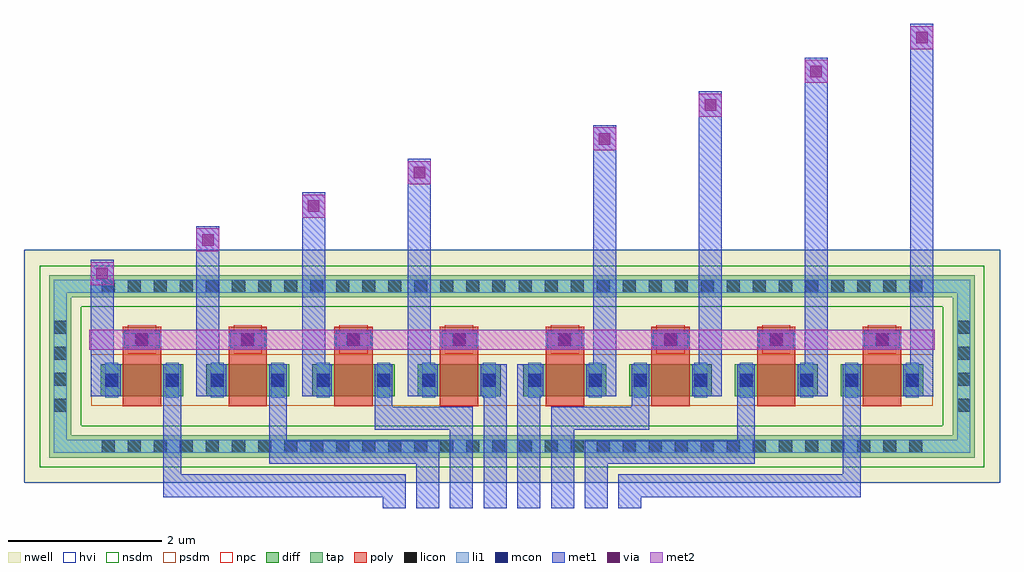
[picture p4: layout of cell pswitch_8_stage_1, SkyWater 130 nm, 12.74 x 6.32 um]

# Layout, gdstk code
import gdstk
lib = gdstk.Library(unit=1e-6, precision=1e-09)
def R(c, l, rs):  # rectangles x0, y0, x1, y1
    for r in rs: c.add(gdstk.rectangle(r[:2], r[2:], *l))
def A(c, l, x, y, w, h, nx, ny, dx, dy):  # array of equal rectangles
    R(c, l, [(x+i*dx, y+j*dy, x+i*dx+w, y+j*dy+h) for i in range(nx) for j in range(ny)])
nwell = (64, 20)
diff = (65, 20)
tap = (65, 44)
poly = (66, 20)
licon = (66, 44)
li1 = (67, 20)
mcon = (67, 44)
met1 = (68, 20)
via = (68, 44)
met2 = (69, 20)
hvi = (75, 20)
nsdm = (93, 44)
psdm = (94, 20)
npc = (95, 20)

sky130_fd_pr__pfet_g5v0d = lib.new_cell('sky130_fd_pr__pfet_g5v0d10v5_WJ97JY')
R(sky130_fd_pr__pfet_g5v0d, nwell, [(-0.72,-0.7,0.72,0.53)])
R(sky130_fd_pr__pfet_g5v0d, diff, [(-0.54,-0.39,0.54,0.03)])
R(sky130_fd_pr__pfet_g5v0d, poly, [(-0.25,-0.52,0.25,0.515)])
R(sky130_fd_pr__pfet_g5v0d, licon, [(-0.48,-0.265,-0.31,-0.095), (0.31,-0.265,0.48,-0.095), (-0.085,0.265,0.085,0.435)])
R(sky130_fd_pr__pfet_g5v0d, li1, [(-0.48,-0.41,-0.31,0.05), (0.31,-0.41,0.48,0.05), (-0.25,0.265,0.25,0.435)])
R(sky130_fd_pr__pfet_g5v0d, mcon, [(-0.48,-0.265,-0.31,-0.095), (0.31,-0.265,0.48,-0.095), (-0.085,0.265,0.085,0.435)])
R(sky130_fd_pr__pfet_g5v0d, met1, [(-0.51,-0.39,-0.28,0.03), (0.28,-0.39,0.51,0.03), (-0.23,0.235,0.23,0.465)])
R(sky130_fd_pr__pfet_g5v0d, hvi, [(-0.72,-0.7,0.72,-0.6), (-1.145,-0.6,1.145,0.24), (-0.72,0.24,0.72,0.53)])
R(sky130_fd_pr__pfet_g5v0d, psdm, [(-0.665,-0.515,0.665,0.155)])
R(sky130_fd_pr__pfet_g5v0d, npc, [(-0.185,0.165,0.185,0.535)])

hpmos_1 = lib.new_cell('hpmos_1')
R(hpmos_1, met1, [(9.99,-15.165,10.31,-14.905)])
R(hpmos_1, via, [(10.075,-15.11,10.225,-14.96)])
R(hpmos_1, met2, [(9.46,-15.165,10.84,-14.905)])
hpmos_1.add(gdstk.Reference(sky130_fd_pr__pfet_g5v0d, (10.15,-15.385)))

hpmos_2 = lib.new_cell('hpmos_2')
R(hpmos_2, psdm, [(12.36,-15.745,12.41,-15.075)])
hpmos_2.add(gdstk.Reference(hpmos_1, (2.925,0.155)))
hpmos_2.add(gdstk.Reference(hpmos_1, (1.545,0.155)))

hpmos_4 = lib.new_cell('hpmos_4')
R(hpmos_4, psdm, [(4.805,0.36,4.855,1.03)])
hpmos_4.add(gdstk.Reference(hpmos_2, (-6.175,16.105)))
hpmos_4.add(gdstk.Reference(hpmos_2, (-8.935,16.105)))

hpmos_8 = lib.new_cell('hpmos_8')
R(hpmos_8, nwell, [(1.135,-0.86,13.875,2.18)])
R(hpmos_8, tap, [(1.465,-0.53,13.545,-0.24), (1.465,-0.24,1.755,1.56), (13.255,-0.24,13.545,1.56), (1.465,1.56,13.545,1.85)])
A(hpmos_8, licon, 2.15, -0.47, 0.17, 0.17, 32, 2, 0.34, 2.09)
A(hpmos_8, licon, 1.525, 0.065, 0.17, 0.17, 1, 4, 0, 0.34)
A(hpmos_8, licon, 13.315, 0.065, 0.17, 0.17, 1, 4, 0, 0.34)
R(hpmos_8, li1, [(1.525,-0.47,13.485,-0.3), (1.525,-0.3,1.695,1.62), (13.315,-0.3,13.485,1.62), (1.525,1.62,13.485,1.79)])
R(hpmos_8, hvi, [(1.135,-0.86,13.875,2.18)])
R(hpmos_8, nsdm, [(1.34,-0.655,13.67,-0.115), (1.34,-0.115,1.88,1.435), (13.13,-0.115,13.67,1.435), (1.34,1.435,13.67,1.975)])
R(hpmos_8, psdm, [(7.48,0.145,7.53,0.815)])
hpmos_8.add(gdstk.Reference(hpmos_4, (5.435,-0.215)))
hpmos_8.add(gdstk.Reference(hpmos_4, (-0.085,-0.215)))

pswitch_8_stage_1 = lib.new_cell('pswitch_8_stage_1')
R(pswitch_8_stage_1, met1, [(152.145,-42.33,152.445,-42.19), (152.585,-42.33,152.885,-41.75), (153.025,-42.33,153.325,-41.31), (153.465,-42.33,153.765,-40.45), (153.905,-42.33,154.205,-40.45), (154.345,-42.33,154.645,-41.31), (154.785,-42.33,155.085,-41.75), (155.225,-42.33,155.525,-42.19), (149.285,-42.19,152.445,-41.89), (155.225,-42.19,158.385,-41.89), (149.285,-41.89,149.515,-40.87), (158.155,-41.89,158.385,-40.81), (150.665,-41.75,152.885,-41.45), (154.785,-41.75,157.005,-41.45), (150.665,-41.45,150.895,-40.87), (156.775,-41.45,157.005,-40.85), (152.045,-41.31,153.325,-41.01), (154.345,-41.31,155.625,-41.01), (152.045,-41.01,152.275,-40.87), (155.395,-41.01,155.625,-40.87), (148.335,-40.87,148.635,-39.09), (149.715,-40.87,150.015,-38.65), (151.095,-40.87,151.395,-38.21), (152.475,-40.87,152.775,-37.77), (154.895,-40.87,155.195,-37.33), (156.275,-40.87,156.575,-36.89), (157.655,-40.87,157.955,-36.45), (159.035,-40.87,159.335,-36.01), (156.79,-40.85,157.005,-40.81)])
R(pswitch_8_stage_1, via, [(148.41,-39.345,148.56,-39.195), (149.79,-38.905,149.94,-38.755), (151.17,-38.465,151.32,-38.315), (152.55,-38.025,152.7,-37.875), (154.97,-37.585,155.12,-37.435), (156.35,-37.145,156.5,-36.995), (157.73,-36.705,157.88,-36.555), (159.11,-36.265,159.26,-36.115)])
R(pswitch_8_stage_1, met2, [(148.335,-39.42,148.635,-39.12), (149.715,-38.98,150.015,-38.68), (151.095,-38.54,151.395,-38.24), (152.475,-38.1,152.775,-37.8), (154.895,-37.66,155.195,-37.36), (156.275,-37.22,156.575,-36.92), (157.655,-36.78,157.955,-36.48), (159.035,-36.34,159.335,-36.04)])
pswitch_8_stage_1.add(gdstk.Reference(hpmos_8, (146.33,-41.14)))

lib.write_gds('pswitch_8_stage_1.gds')
